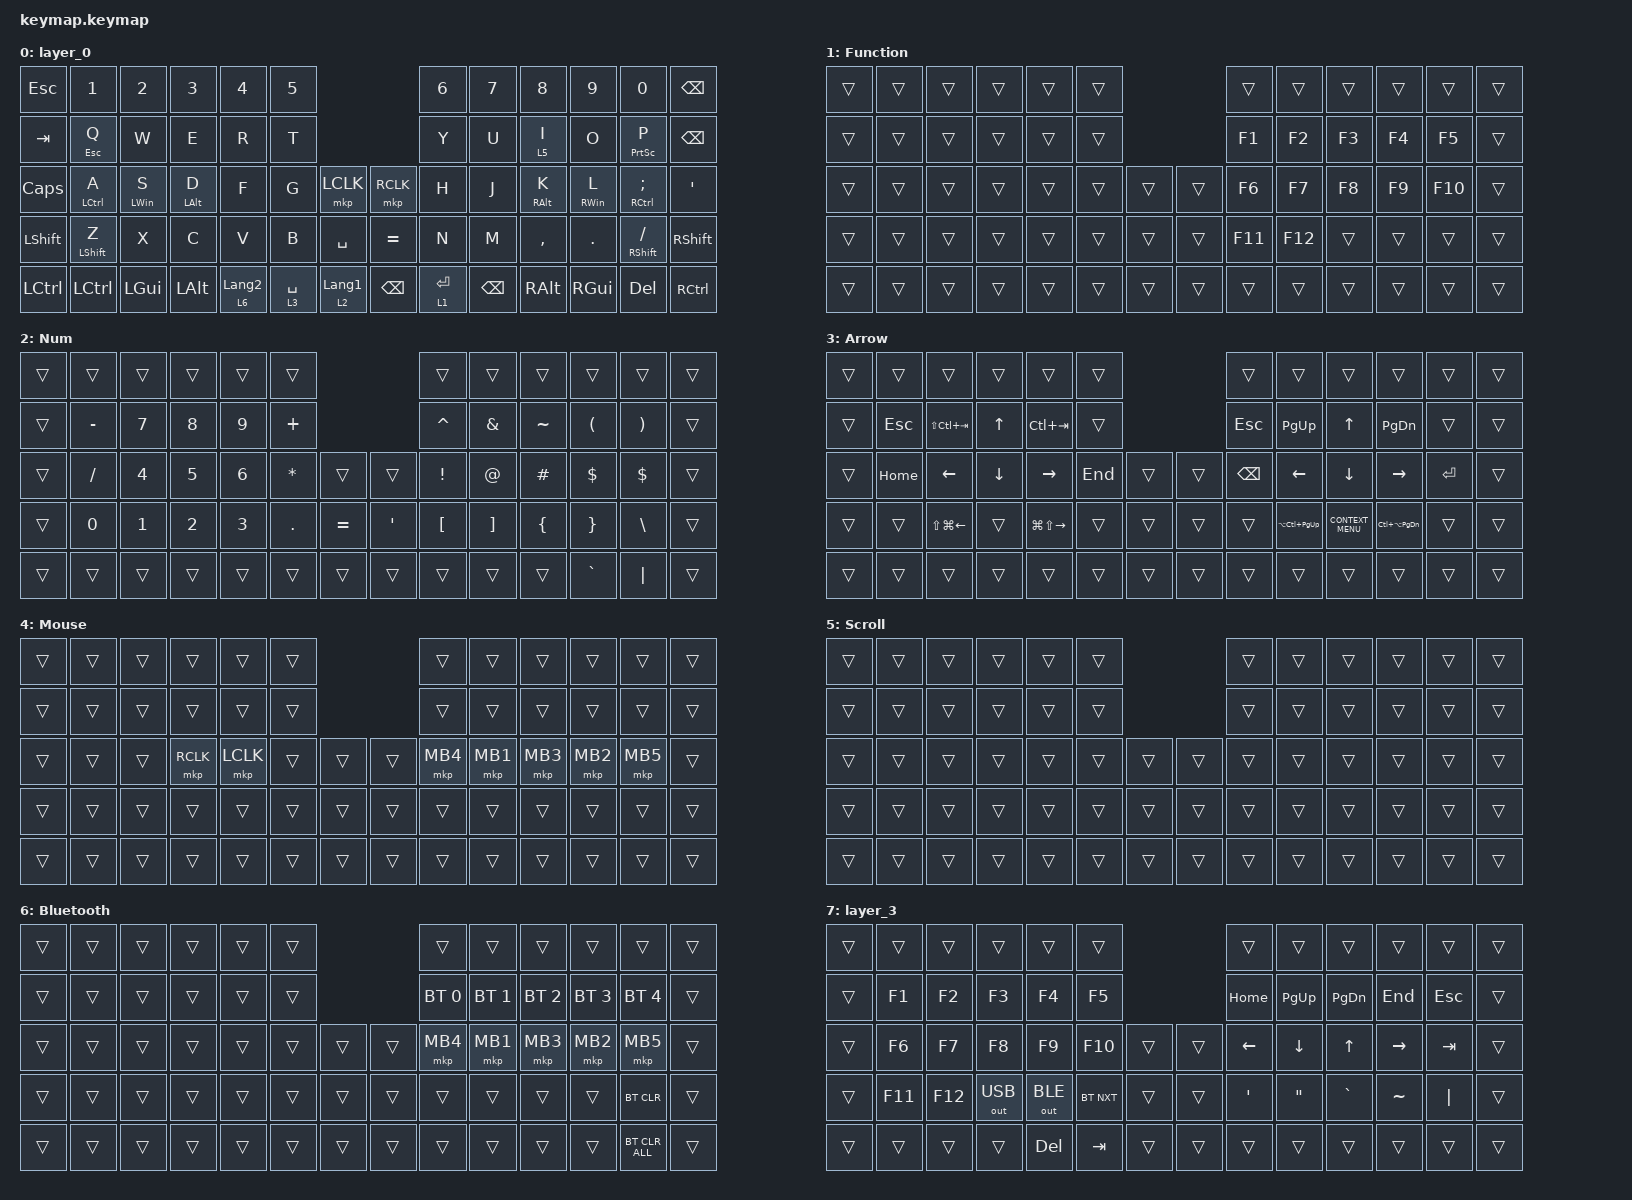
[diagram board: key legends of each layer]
#include <behaviors.dtsi>
#include <dt-bindings/zmk/bt.h>
#include <dt-bindings/zmk/keys.h>
#include <dt-bindings/zmk/outputs.h>
#include <dt-bindings/zmk/pointing.h>

/ {
    combos {
        compatible = "zmk,combos";

        bt_clear {
            bindings = <&bt BT_CLR>;
            key-positions = <28 29>;
        };

        tab {
            bindings = <&kp TAB>;
            key-positions = <26 27>;
        };

        s-Tab {
            bindings = <&kp LS(TAB)>;
            key-positions = <27 28>;
        };

        double_quate {
            bindings = <&kp DOUBLE_QUOTES>;
            key-positions = <36 35>;
        };

        eq {
            bindings = <&kp EQUAL>;
            key-positions = <42 41>;
        };

        apostrophy {
            bindings = <&kp APOSTROPHE>;
            key-positions = <35 34>;
        };

        minus {
            bindings = <&kp MINUS>;
            key-positions = <33 34>;
        };

        back_slash {
            bindings = <&kp BACKSLASH>;
            key-positions = <50 49>;
        };

        delete {
            bindings = <&kp DELETE>;
            key-positions = <40 41>;
        };

        Grave {
            bindings = <&kp GRAVE>;
            key-positions = <48 49>;
        };
    };

    keymap {
        compatible = "zmk,keymap";

        layer_0 {
            bindings = <
&kp ESC    &kp N1              &kp N2          &kp N3          &kp N4            &kp N5                                        &kp N6       &kp N7    &kp N8           &kp N9           &kp N0                  &kp BSPC
&kp TAB    &mt ESC Q           &kp W           &kp E           &kp R             &kp T                                         &kp Y        &kp U     &lt 5 I          &kp O            &mt PRINTSCREEN P       &kp BSPC
&kp CAPS   &mt LEFT_CONTROL A  &mt LEFT_WIN S  &mt LEFT_ALT D  &kp F             &kp G        &mkp LCLK         &mkp RCLK      &kp H        &kp J     &mt RIGHT_ALT K  &mt RIGHT_WIN L  &mt RIGHT_CONTROL SEMI  &kp SQT
&kp LSHFT  &mt LEFT_SHIFT Z    &kp X           &kp C           &kp V             &kp B        &kp SPACE         &kp EQUAL      &kp N        &kp M     &kp COMMA        &kp DOT          &mt RIGHT_SHIFT FSLH    &kp RSHFT
&kp LCTRL  &kp LCTRL           &kp LGUI        &kp LALT        &lt 6 LANGUAGE_2  &lt 3 SPACE  &lt 2 LANGUAGE_1  &kp BACKSPACE  &lt 1 ENTER  &kp BSPC  &kp RALT         &kp RGUI         &kp DEL                 &kp RCTRL
            >;
        };

        Function {
            bindings = <
&trans  &trans  &trans  &trans  &trans  &trans                  &trans   &trans   &trans  &trans  &trans   &trans
&trans  &trans  &trans  &trans  &trans  &trans                  &kp F1   &kp F2   &kp F3  &kp F4  &kp F5   &trans
&trans  &trans  &trans  &trans  &trans  &trans  &trans  &trans  &kp F6   &kp F7   &kp F8  &kp F9  &kp F10  &trans
&trans  &trans  &trans  &trans  &trans  &trans  &trans  &trans  &kp F11  &kp F12  &trans  &trans  &trans   &trans
&trans  &trans  &trans  &trans  &trans  &trans  &trans  &trans  &trans   &trans   &trans  &trans  &trans   &trans
            >;
        };

        Num {
            bindings = <
&trans  &trans        &trans        &trans        &trans        &trans                          &trans            &trans             &trans          &trans                &trans                 &trans
&trans  &kp MINUS     &kp NUMBER_7  &kp NUMBER_8  &kp NUMBER_9  &kp PLUS                        &kp CARET         &kp AMPERSAND      &kp TILDE       &kp LEFT_PARENTHESIS  &kp RIGHT_PARENTHESIS  &trans
&trans  &kp SLASH     &kp NUMBER_4  &kp NUMBER_5  &kp NUMBER_6  &kp ASTRK  &trans     &trans    &kp EXCLAMATION   &kp AT             &kp HASH        &kp DOLLAR            &kp DOLLAR             &trans
&trans  &kp NUMBER_0  &kp NUMBER_1  &kp NUMBER_2  &kp NUMBER_3  &kp DOT    &kp EQUAL  &kp APOS  &kp LEFT_BRACKET  &kp RIGHT_BRACKET  &kp LEFT_BRACE  &kp RIGHT_BRACE       &kp BACKSLASH          &trans
&trans  &trans        &trans        &trans        &trans        &trans     &trans     &trans    &trans            &trans             &trans          &kp GRAVE             &kp PIPE               &trans
            >;
        };

        Arrow {
            bindings = <
&trans  &trans    &trans                  &trans          &trans                   &trans                   &trans         &trans               &trans              &trans                 &trans     &trans
&trans  &kp ESC   &kp LS(LC(TAB))         &kp UP_ARROW    &kp LC(TAB)              &trans                   &kp ESC        &kp PAGE_UP          &kp UP_ARROW        &kp PAGE_DOWN          &trans     &trans
&trans  &kp HOME  &kp LEFT_ARROW          &kp DOWN_ARROW  &kp RIGHT_ARROW          &kp END  &trans  &trans  &kp BACKSPACE  &kp LEFT_ARROW       &kp DOWN_ARROW      &kp RIGHT_ARROW        &kp ENTER  &trans
&trans  &trans    &kp LS(LG(LEFT_ARROW))  &trans          &kp LG(LS(RIGHT_ARROW))  &trans   &trans  &trans  &trans         &kp LA(LC(PAGE_UP))  &kp K_CONTEXT_MENU  &kp LC(LA(PAGE_DOWN))  &trans     &trans
&trans  &trans    &trans                  &trans          &trans                   &trans   &trans  &trans  &trans         &trans               &trans              &trans                 &trans     &trans
            >;
        };

        Mouse {
            bindings = <
&trans  &trans  &trans  &trans     &trans     &trans                  &trans    &trans    &trans    &trans    &trans    &trans
&trans  &trans  &trans  &trans     &trans     &trans                  &trans    &trans    &trans    &trans    &trans    &trans
&trans  &trans  &trans  &mkp RCLK  &mkp LCLK  &trans  &trans  &trans  &mkp MB4  &mkp MB1  &mkp MB3  &mkp MB2  &mkp MB5  &trans
&trans  &trans  &trans  &trans     &trans     &trans  &trans  &trans  &trans    &trans    &trans    &trans    &trans    &trans
&trans  &trans  &trans  &trans     &trans     &trans  &trans  &trans  &trans    &trans    &trans    &trans    &trans    &trans
            >;
        };

        Scroll {
            bindings = <
&trans  &trans  &trans  &trans  &trans  &trans                  &trans  &trans  &trans  &trans  &trans  &trans
&trans  &trans  &trans  &trans  &trans  &trans                  &trans  &trans  &trans  &trans  &trans  &trans
&trans  &trans  &trans  &trans  &trans  &trans  &trans  &trans  &trans  &trans  &trans  &trans  &trans  &trans
&trans  &trans  &trans  &trans  &trans  &trans  &trans  &trans  &trans  &trans  &trans  &trans  &trans  &trans
&trans  &trans  &trans  &trans  &trans  &trans  &trans  &trans  &trans  &trans  &trans  &trans  &trans  &trans
            >;
        };

        Bluetooth {
            bindings = <
&trans  &trans  &trans  &trans  &trans  &trans                  &trans        &trans        &trans        &trans        &trans          &trans
&trans  &trans  &trans  &trans  &trans  &trans                  &bt BT_SEL 0  &bt BT_SEL 1  &bt BT_SEL 2  &bt BT_SEL 3  &bt BT_SEL 4    &trans
&trans  &trans  &trans  &trans  &trans  &trans  &trans  &trans  &mkp MB4      &mkp MB1      &mkp MB3      &mkp MB2      &mkp MB5        &trans
&trans  &trans  &trans  &trans  &trans  &trans  &trans  &trans  &trans        &trans        &trans        &trans        &bt BT_CLR      &trans
&trans  &trans  &trans  &trans  &trans  &trans  &trans  &trans  &trans        &trans        &trans        &trans        &bt BT_CLR_ALL  &trans
            >;
        };

        layer_3 {
            bindings = <
&trans  &trans   &trans   &trans        &trans        &trans                      &trans            &trans     &trans         &trans     &trans      &trans
&trans  &kp F1   &kp F2   &kp F3        &kp F4        &kp F5                      &kp HOME          &kp PG_UP  &kp PAGE_DOWN  &kp END    &kp ESCAPE  &trans
&trans  &kp F6   &kp F7   &kp F8        &kp F9        &kp F10     &trans  &trans  &kp LEFT          &kp DOWN   &kp UP_ARROW   &kp RIGHT  &kp TAB     &trans
&trans  &kp F11  &kp F12  &out OUT_USB  &out OUT_BLE  &bt BT_NXT  &trans  &trans  &kp SINGLE_QUOTE  &kp DQT    &kp GRAVE      &kp TILDE  &kp PIPE    &trans
&trans  &trans   &trans   &trans        &kp DELETE    &kp TAB     &trans  &trans  &trans            &trans     &trans         &trans     &trans      &trans
            >;
        };
    };
};
